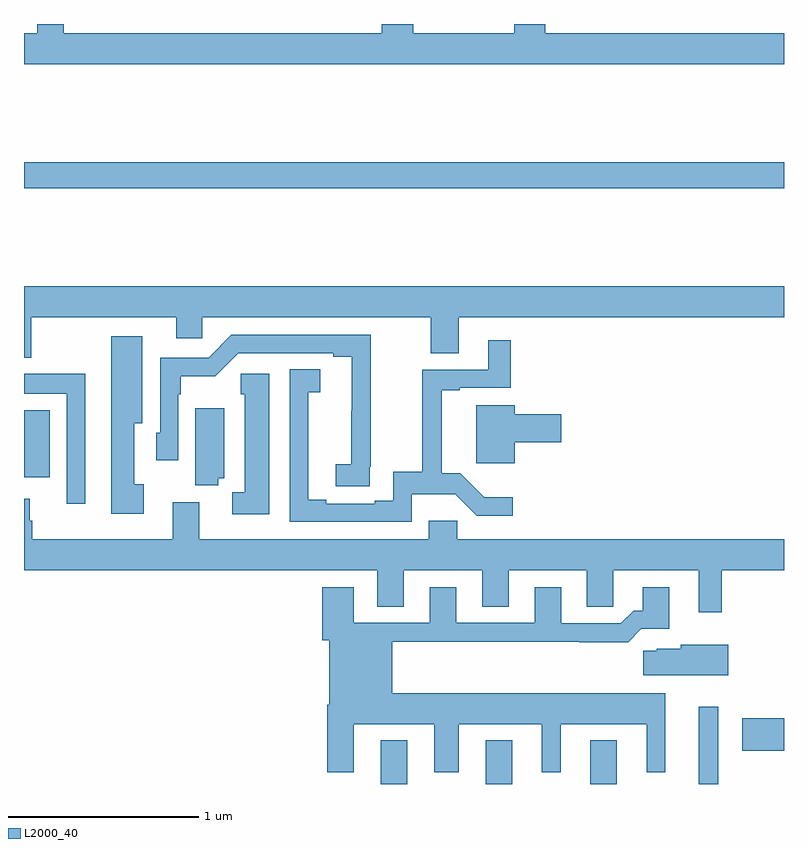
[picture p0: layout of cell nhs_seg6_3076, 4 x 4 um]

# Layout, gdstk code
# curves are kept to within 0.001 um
import gdstk
lib = gdstk.Library(unit=1e-6, precision=1e-09)
def R(c, l, rs):  # rectangles x0, y0, x1, y1
    for r in rs: c.add(gdstk.rectangle(r[:2], r[2:], *l))
def A(c, l, x, y, w, h, nx, ny, dx, dy):  # array of equal rectangles
    R(c, l, [(x+i*dx, y+j*dy, x+i*dx+w, y+j*dy+h) for i in range(nx) for j in range(ny)])
def P(c, l, *ps):  # polygons
    for p in ps: c.add(gdstk.Polygon(p, *l))
L2000_40 = (2000, 40)

nhs_seg6_3076 = lib.new_cell('nhs_seg6_3076')
A(nhs_seg6_3076, L2000_40, 292.877, 991.5, 0.14, 0.229, 3, 1, 0.552, 0)
R(nhs_seg6_3076, L2000_40, [(294.551,991.5,294.655,991.906), (294.78,991.676,295,991.847), (291,993.114,291.136,993.466), (291,994.636,295,994.772)])
P(nhs_seg6_3076, L2000_40, [(295,995.452),(293.744,995.452),(293.744,995.5),(293.579,995.5),(293.579,995.452),(293.048,995.452),(293.048,995.5),(292.883,995.5),(292.883,995.452),(291.21,995.452),(291.21,995.5),(291.071,995.5),(291.071,995.452),(291,995.452),(291,995.288),(295,995.288)],
  [(291.039,993.956),(291.8,993.956),(291.8,993.846),(291.939,993.846),(291.939,993.956),(293.14,993.956),(293.14,993.766),(293.287,993.766),(293.287,993.956),(295,993.956),(295,994.12),(291,994.12),(291,993.743),(291.039,993.743)],
  [(292.82,993.169),(292.826,993.169),(292.826,993.864),(292.092,993.864),(291.972,993.744),(291.717,993.744),(291.717,993.348),(291.696,993.348),(291.696,993.204),(291.813,993.204),(291.813,993.551),(291.826,993.551),(291.826,993.647),(292.007,993.647),(292.128,993.768),(292.628,993.768),(292.628,993.748),(292.724,993.748),(292.723,993.182),(292.641,993.182),(292.641,993.067),(292.82,993.067)],
  [(291.631,993.078),(291.58,993.078),(291.58,993.398),(291.622,993.398),(291.622,993.856),(291.458,993.856),(291.458,992.922),(291.631,992.922)],
  [(293.04,993.026),(293.269,993.026),(293.382,992.913),(293.572,992.913),(293.572,993.01),(293.423,993.01),(293.297,993.136),(293.198,993.136),(293.198,993.573),(293.293,993.573),(293.293,993.585),(293.561,993.585),(293.561,993.835),(293.444,993.835),(293.444,993.681),(293.095,993.681),(293.095,993.143),(292.944,993.143),(292.944,992.99),(292.847,992.99),(292.847,992.976),(292.591,992.976),(292.591,992.996),(292.495,992.996),(292.495,993.259),(292.497,993.259),(292.497,993.563),(292.558,993.563),(292.558,993.683),(292.398,993.683),(292.398,992.88),(293.04,992.88)],
  [(291.322,993.658),(291,993.658),(291,993.554),(291.225,993.554),(291.225,992.976),(291.322,992.976)],
  [(292.291,993.658),(292.141,993.658),(292.141,993.552),(292.163,993.552),(292.163,993.036),(292.095,993.036),(292.095,992.921),(292.291,992.921)],
  [(293.584,993.299),(293.827,993.299),(293.827,993.446),(293.584,993.446),(293.584,993.493),(293.381,993.493),(293.381,993.188),(293.584,993.188)],
  [(292.022,993.11),(292.054,993.11),(292.054,993.478),(291.902,993.478),(291.902,993.073),(292.022,993.073)],
  [(293.281,992.886),(293.129,992.886),(293.129,992.788),(291.922,992.788),(291.922,992.983),(291.782,992.983),(291.782,992.788),(291.044,992.788),(291.044,992.886),(291.031,992.886),(291.031,993.001),(291,993.001),(291,992.624),(292.859,992.624),(292.859,992.434),(292.999,992.434),(292.999,992.624),(293.411,992.624),(293.411,992.434),(293.551,992.434),(293.551,992.624),(293.963,992.624),(293.963,992.434),(294.102,992.434),(294.102,992.624),(294.551,992.624),(294.551,992.403),(294.673,992.403),(294.673,992.624),(295,992.624),(295,992.788),(293.281,992.788)],
  [(292.735,991.814),(293.159,991.814),(293.159,991.563),(293.287,991.563),(293.287,991.814),(293.726,991.814),(293.726,991.563),(293.824,991.563),(293.824,991.814),(294.278,991.814),(294.278,991.563),(294.376,991.563),(294.376,991.978),(292.939,991.978),(292.939,992.248),(293.923,992.248),(293.923,992.246),(294.179,992.246),(294.249,992.316),(294.397,992.316),(294.397,992.536),(294.257,992.536),(294.257,992.413),(294.208,992.413),(294.141,992.346),(293.827,992.346),(293.827,992.536),(293.687,992.536),(293.687,992.349),(293.275,992.349),(293.275,992.536),(293.135,992.536),(293.135,992.349),(292.735,992.349),(292.735,992.536),(292.571,992.536),(292.571,992.256),(292.607,992.256),(292.607,991.918),(292.595,991.918),(292.595,991.563),(292.735,991.563)],
  [(294.706,992.233),(294.456,992.233),(294.456,992.212),(294.33,992.212),(294.33,992.201),(294.258,992.201),(294.258,992.072),(294.706,992.072)])

lib.write_gds('nhs_seg6_3076.gds')
